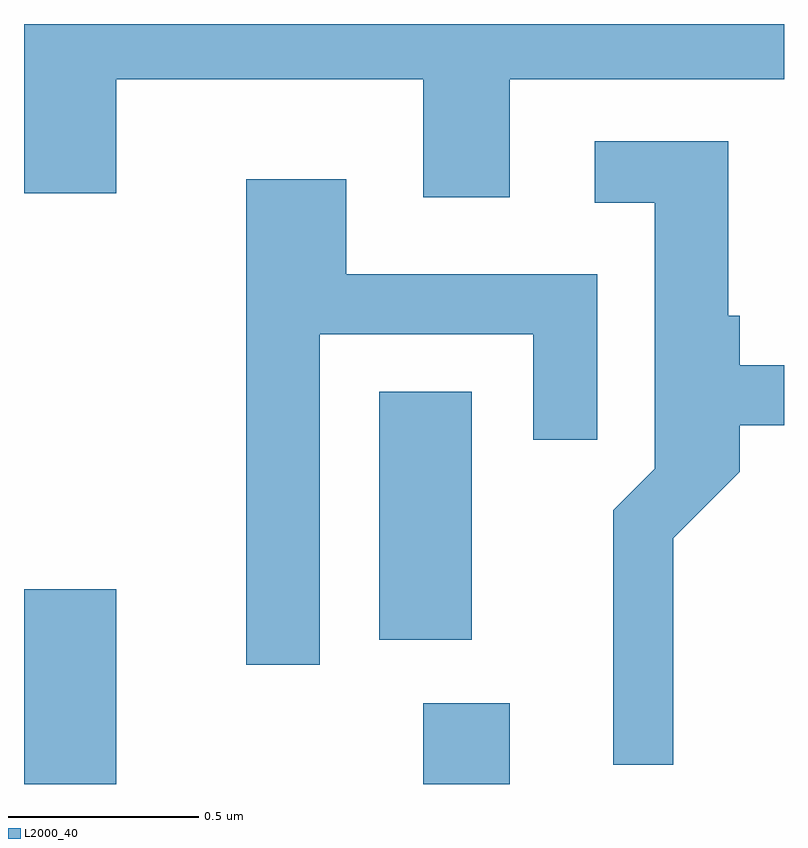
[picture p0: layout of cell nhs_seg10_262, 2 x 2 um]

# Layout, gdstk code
import gdstk
lib = gdstk.Library(unit=1e-6, precision=1e-09)
def R(c, l, rs):  # rectangles x0, y0, x1, y1
    for r in rs: c.add(gdstk.rectangle(r[:2], r[2:], *l))
def P(c, l, *ps):  # polygons
    for p in ps: c.add(gdstk.Polygon(p, *l))
L2000_40 = (2000, 40)

nhs_seg10_262 = lib.new_cell('nhs_seg10_262')
R(nhs_seg10_262, L2000_40, [(186.611,2207.522,186.854,2208.034), (187.661,2207.522,187.889,2207.734), (187.546,2207.901,187.789,2208.554)])
P(nhs_seg10_262, L2000_40, [(187.889,2209.376),(188.611,2209.376),(188.611,2209.522),(186.611,2209.522),(186.611,2209.076),(186.854,2209.076),(186.854,2209.376),(187.661,2209.376),(187.661,2209.066),(187.889,2209.066)],
  [(188.319,2208.169),(188.494,2208.344),(188.494,2208.466),(188.611,2208.466),(188.611,2208.624),(188.494,2208.624),(188.494,2208.754),(188.464,2208.754),(188.464,2209.214),(188.113,2209.214),(188.113,2209.051),(188.271,2209.051),(188.271,2208.352),(188.161,2208.242),(188.161,2207.573),(188.319,2207.573)],
  [(187.389,2208.706),(187.951,2208.706),(187.951,2208.428),(188.119,2208.428),(188.119,2208.864),(187.459,2208.864),(187.459,2209.114),(187.196,2209.114),(187.196,2207.836),(187.389,2207.836)])

lib.write_gds('nhs_seg10_262.gds')
